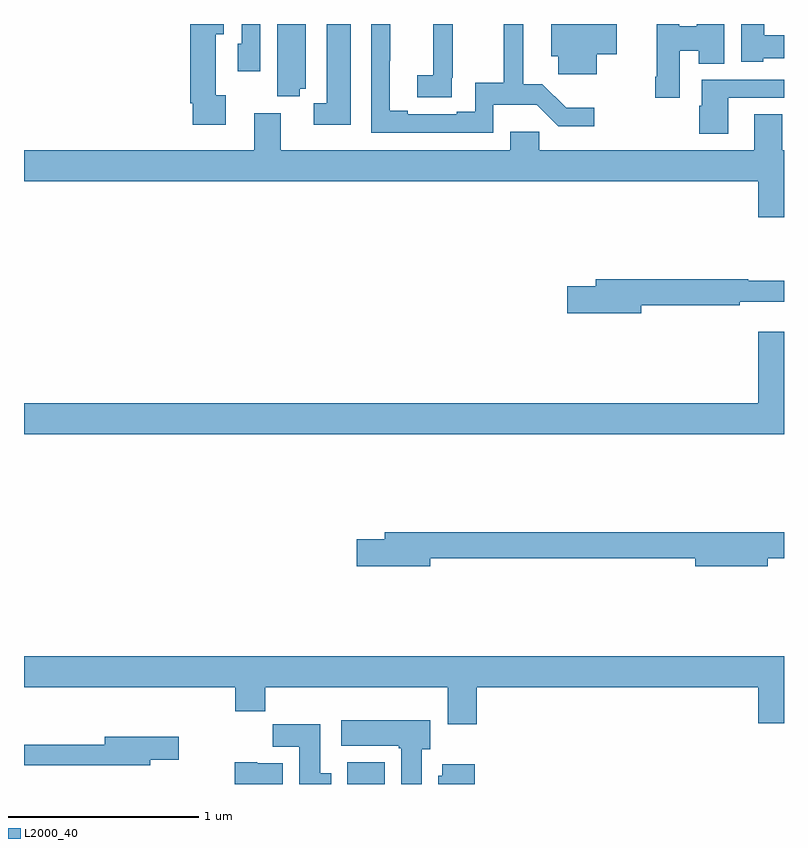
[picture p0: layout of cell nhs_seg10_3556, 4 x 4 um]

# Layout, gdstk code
import gdstk
lib = gdstk.Library(unit=1e-6, precision=1e-09)
def R(c, l, rs):  # rectangles x0, y0, x1, y1
    for r in rs: c.add(gdstk.rectangle(r[:2], r[2:], *l))
def P(c, l, *ps):  # polygons
    for p in ps: c.add(gdstk.Polygon(p, *l))
L2000_40 = (2000, 40)

nhs_seg10_3556 = lib.new_cell('nhs_seg10_3556')
R(nhs_seg10_3556, L2000_40, [(306.701,1274.5,306.898,1274.614)])
P(nhs_seg10_3556, L2000_40, [(308.452,1278.359),(308.552,1278.359),(308.552,1278.292),(308.686,1278.292),(308.686,1278.5),(308.54,1278.5),(308.54,1278.489),(308.448,1278.489),(308.448,1278.5),(308.33,1278.5),(308.33,1278.223),(308.323,1278.223),(308.323,1278.111),(308.452,1278.111)],
  [(306.061,1278.126),(306.01,1278.126),(306.01,1278.446),(306.052,1278.446),(306.052,1278.5),(305.876,1278.5),(305.876,1278.082),(305.888,1278.082),(305.888,1277.97),(306.061,1277.97)],
  [(306.721,1278.5),(306.593,1278.5),(306.593,1278.084),(306.525,1278.084),(306.525,1277.969),(306.721,1277.969)],
  [(307.25,1278.217),(307.256,1278.217),(307.256,1278.5),(307.153,1278.5),(307.153,1278.23),(307.071,1278.23),(307.071,1278.115),(307.25,1278.115)],
  [(306.243,1278.5),(306.147,1278.5),(306.147,1278.396),(306.126,1278.396),(306.126,1278.252),(306.243,1278.252)],
  [(307.47,1278.074),(307.699,1278.074),(307.812,1277.961),(308.002,1277.961),(308.002,1278.058),(307.853,1278.058),(307.727,1278.184),(307.627,1278.184),(307.627,1278.5),(307.525,1278.5),(307.525,1278.191),(307.374,1278.191),(307.374,1278.038),(307.277,1278.038),(307.277,1278.024),(307.021,1278.024),(307.021,1278.044),(306.925,1278.044),(306.925,1278.307),(306.927,1278.307),(306.927,1278.5),(306.828,1278.5),(306.828,1277.928),(307.47,1277.928)],
  [(308.014,1278.341),(308.119,1278.341),(308.119,1278.5),(307.775,1278.5),(307.775,1278.329),(307.811,1278.329),(307.811,1278.236),(308.014,1278.236)],
  [(308.892,1278.32),(309,1278.32),(309,1278.442),(308.896,1278.442),(308.896,1278.5),(308.774,1278.5),(308.774,1278.302),(308.892,1278.302)],
  [(306.452,1278.158),(306.484,1278.158),(306.484,1278.5),(306.332,1278.5),(306.332,1278.121),(306.452,1278.121)],
  [(308.707,1278.111),(309,1278.111),(309,1278.207),(308.567,1278.207),(308.567,1278.069),(308.555,1278.069),(308.555,1277.922),(308.707,1277.922)],
  [(309,1277.836),(308.991,1277.836),(308.991,1278.026),(308.843,1278.026),(308.843,1277.836),(307.711,1277.836),(307.711,1277.934),(307.559,1277.934),(307.559,1277.836),(306.352,1277.836),(306.352,1278.031),(306.212,1278.031),(306.212,1277.836),(305,1277.836),(305,1277.672),(308.864,1277.672),(308.864,1277.484),(309,1277.484)],
  [(308.248,1277.02),(308.768,1277.02),(308.768,1277.039),(309,1277.039),(309,1277.149),(308.813,1277.149),(308.813,1277.156),(308.009,1277.156),(308.009,1277.12),(307.86,1277.12),(307.86,1276.978),(308.248,1276.978)],
  [(309,1276.879),(308.864,1276.879),(308.864,1276.504),(305,1276.504),(305,1276.34),(309,1276.34)],
  [(307.138,1275.688),(308.534,1275.688),(308.534,1275.646),(308.914,1275.646),(308.914,1275.688),(309,1275.688),(309,1275.824),(306.899,1275.824),(306.899,1275.788),(306.75,1275.788),(306.75,1275.646),(307.138,1275.646)],
  [(307.382,1275.008),(308.864,1275.008),(308.864,1274.82),(309,1274.82),(309,1275.172),(305,1275.172),(305,1275.008),(306.113,1275.008),(306.113,1274.884),(306.269,1274.884),(306.269,1275.008),(307.229,1275.008),(307.229,1274.814),(307.382,1274.814)],
  [(307.093,1274.682),(307.138,1274.682),(307.138,1274.836),(306.669,1274.836),(306.669,1274.702),(306.973,1274.702),(306.973,1274.689),(306.986,1274.689),(306.986,1274.5),(307.093,1274.5)],
  [(306.616,1274.556),(306.559,1274.556),(306.559,1274.815),(306.31,1274.815),(306.31,1274.696),(306.449,1274.696),(306.449,1274.5),(306.616,1274.5)],
  [(305.665,1274.627),(305.815,1274.627),(305.815,1274.749),(305.426,1274.749),(305.426,1274.707),(305,1274.707),(305,1274.598),(305.665,1274.598)],
  [(306.361,1274.608),(306.228,1274.608),(306.228,1274.614),(306.11,1274.614),(306.11,1274.5),(306.361,1274.5)],
  [(307.373,1274.605),(307.202,1274.605),(307.202,1274.544),(307.181,1274.544),(307.181,1274.5),(307.373,1274.5)])

lib.write_gds('nhs_seg10_3556.gds')
